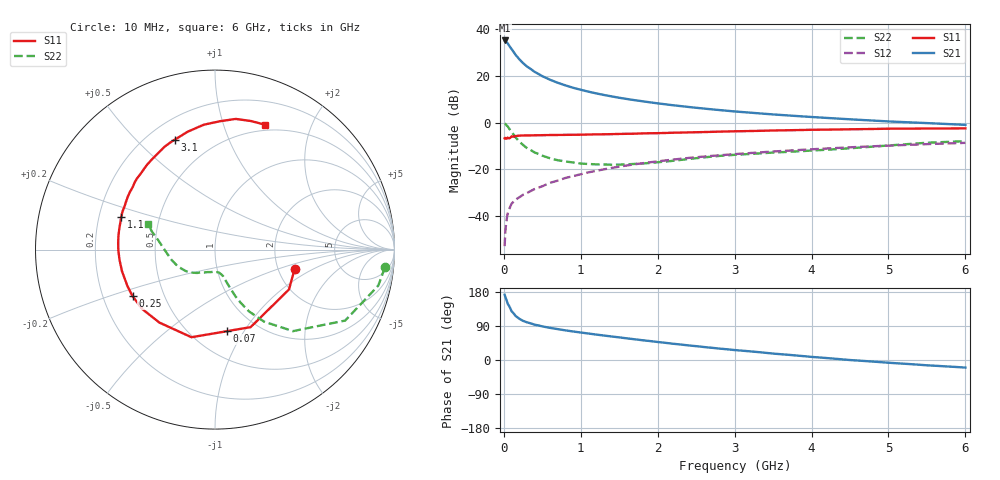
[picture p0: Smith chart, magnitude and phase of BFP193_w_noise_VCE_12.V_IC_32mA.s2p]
! Infineon Technologies  Discrete & RF Semiconductors
! BFP193
! VCE =  12. V,  IC =  32 mA
! Common Emitter S-Parameters:  Jan 2017
# GHz  S  MA  R  50
!  f  S11  S21  S12  S22
! GHz  MAG  ANG  MAG  ANG  MAG  ANG  MAG  ANG
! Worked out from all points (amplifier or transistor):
!   77 points, 10 MHz to 6 GHz, reference 50 ohm
!   highest |S21| = 35.3 dB at 10 MHz (marker M1)
!   |S21| within 3 dB of that: start of sweep to 85.21 MHz
!   unconditionally stable (mu >= 1): 803.9 MHz to 2.479 GHz
!   at 130 MHz: K = 0.47, MSG = 32.1 dB, |S12| = -33.9 dB
!   at 2.2 GHz: K = 1.01, MAG = 11.0 dB, |S12| = -15.9 dB
!   at 6 GHz: K = 0.90, MSG = 3.9 dB, |S12| = -8.7 dB
!   lowest NFmin = 1.24 dB at 450 MHz
!   S11 on the Smith chart (normalised r, x): 10 MHz: 2.46, -0.69; 70 MHz: 0.73, -0.84; 250 MHz: 0.33, -0.24; 1.1 GHz: 0.30, +0.15; 3.1 GHz: 0.31, +0.65; 6 GHz: 0.44, +1.38
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0.01  0.4566 -14.0  58.12 172.3  0.0022 70.8  0.9517 -6.0
0.02  0.4682 -28.3  57.71 166.1  0.0047 76.4  0.9318 -12.4
0.05  0.4755 -65.3  50.3 148.6  0.0111 65.9  0.826 -28.6
0.07  0.4594 -81.6  44.81 142.0  0.0138 61.7  0.7391 -34.5
0.1  0.5055 -105.0  38.1 128.7  0.0179 57.8  0.6286 -46.3
0.15  0.5114 -127.4  28.93 116.7  0.0218 53.4  0.4848 -55.8
0.2  0.5235 -140.9  23.01 109.0  0.0247 55.5  0.3927 -61.2
0.25  0.5276 -150.5  18.95 103.3  0.028 55.0  0.3293 -64.2
0.3  0.5284 -157.5  16.04 99.4  0.0304 56.0  0.2833 -66.4
0.4  0.532 -166.9  12.29 93.2  0.0372 59.8  0.2275 -68.7
0.5  0.5351 -173.9  9.919 88.7  0.0427 61.0  0.1938 -70.3
0.6  0.5386 -179.5  8.333 84.8  0.0505 62.5  0.1706 -71.9
0.7  0.5407 176.1  7.161 81.5  0.0564 63.3  0.1549 -73.0
0.9  0.5457 167.9  5.594 75.3  0.0704 63.5  0.1385 -77.1
1.1  0.5527 161.0  4.611 69.9  0.085 63.6  0.1286 -81.8
1.5  0.5685 148.7  3.408 59.7  0.1124 60.5  0.1243 -95.5
2.1  0.597 132.0  2.467 45.3  0.153 54.7  0.145 -118.5
2.6  0.6243 120.4  1.996 34.3  0.1855 49.0  0.1783 -133.9
3.1  0.652 110.2  1.681 24.6  0.215 43.2  0.2066 -146.4
4.1  0.7012 93.6  1.286 6.7  0.2713 32.3  0.255 -169.9
5.1  0.7377 79.7  1.039 -8.5  0.324 21.0  0.33 169.0
6  0.7492 68.3  0.892 -20.0  0.3662 11.1  0.3981 158.7
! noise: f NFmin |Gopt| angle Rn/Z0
0.45  1.24  0.35  -173  0.08
0.9  1.3  0.39  -171  0.07
1.9  1.92  0.58  -136  0.17
2.4  2.25  0.62  -121  0.38
